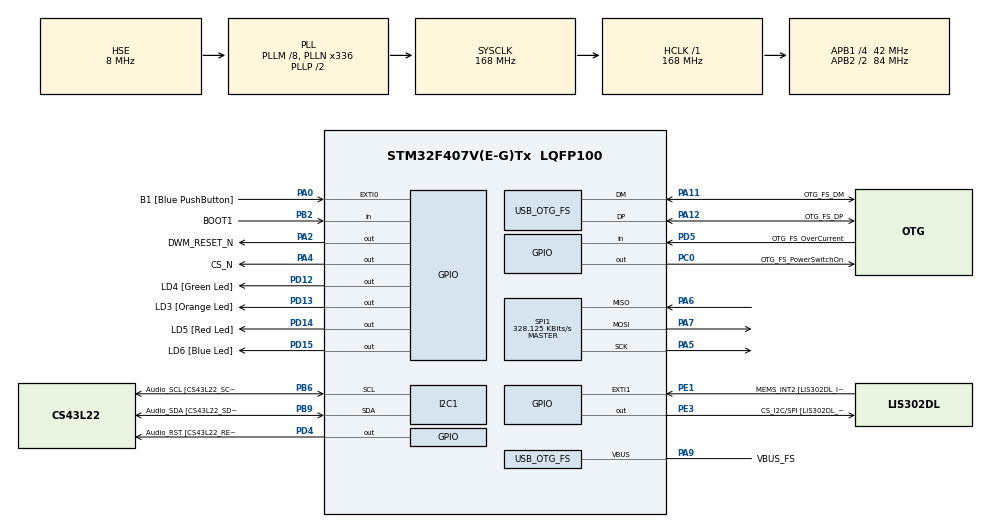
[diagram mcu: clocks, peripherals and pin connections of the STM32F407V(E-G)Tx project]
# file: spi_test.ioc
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Mcu.Family=STM32F4
Mcu.Name=STM32F407V(E-G)Tx
Mcu.Package=LQFP100
NVIC.OTG_FS_IRQn=true\:0\:0\:false\:false\:true\:true\:true\:true
NVIC.PriorityGroup=NVIC_PRIORITYGROUP_0
PA0-WKUP.GPIO_Label=B1 [Blue PushButton]
PA0-WKUP.GPIO_ModeDefaultEXTI=GPIO_MODE_EVT_RISING
PA0-WKUP.GPIO_PuPd=GPIO_NOPULL
PA0-WKUP.Signal=GPXTI0
PA10.GPIO_Label=OTG_FS_ID
PA10.GPIO_Mode=GPIO_MODE_AF_PP
PA10.GPIO_PuPd=GPIO_NOPULL
PA10.GPIO_Speed=GPIO_SPEED_FREQ_LOW
PA10.Signal=USB_OTG_FS_ID
PA11.GPIO_Label=OTG_FS_DM
PA11.GPIO_Mode=GPIO_MODE_AF_PP
PA11.GPIO_PuPd=GPIO_NOPULL
PA11.GPIO_Speed=GPIO_SPEED_FREQ_LOW
PA11.Mode=Host_Only
PA11.Signal=USB_OTG_FS_DM
PA12.GPIO_Label=OTG_FS_DP
PA12.GPIO_Mode=GPIO_MODE_AF_PP
PA12.GPIO_PuPd=GPIO_NOPULL
PA12.GPIO_Speed=GPIO_SPEED_FREQ_LOW
PA12.Mode=Host_Only
PA12.Signal=USB_OTG_FS_DP
PA13.GPIO_Label=SWDIO
PA13.Mode=Serial_Wire
PA13.Signal=SYS_JTMS-SWDIO
PA14.GPIO_Label=SWCLK
PA14.Mode=Serial_Wire
PA14.Signal=SYS_JTCK-SWCLK
PA2.GPIO_Label=DWM_RESET_N
PA2.GPIO_ModeDefaultOutputPP=GPIO_MODE_OUTPUT_OD
PA2.GPIO_PuPd=GPIO_PULLUP
PA2.Signal=GPIO_Output
PA4.GPIO_Label=CS_N
PA4.Signal=GPIO_Output
PA5.GPIO_Mode=GPIO_MODE_AF_PP
PA5.GPIO_PuPd=GPIO_NOPULL
PA5.GPIO_Speed=GPIO_SPEED_FREQ_VERY_HIGH
PA5.Mode=Full_Duplex_Master
PA5.Signal=SPI1_SCK
PA6.GPIO_Mode=GPIO_MODE_AF_PP
PA6.GPIO_PuPd=GPIO_NOPULL
PA6.GPIO_Speed=GPIO_SPEED_FREQ_VERY_HIGH
PA6.Mode=Full_Duplex_Master
PA6.Signal=SPI1_MISO
PA7.GPIO_Mode=GPIO_MODE_AF_PP
PA7.GPIO_PuPd=GPIO_NOPULL
PA7.GPIO_Speed=GPIO_SPEED_FREQ_VERY_HIGH
PA7.Mode=Full_Duplex_Master
PA7.Signal=SPI1_MOSI
PA9.GPIO_Label=VBUS_FS
PA9.GPIO_Mode=GPIO_MODE_INPUT
PA9.GPIO_PuPd=GPIO_NOPULL
PA9.Mode=Activate_VBUS
PA9.Signal=USB_OTG_FS_VBUS
PB10.GPIO_Label=CLK_IN [MP45DT02_CLK]
PB10.GPIO_Mode=GPIO_MODE_AF_PP
PB10.GPIO_PuPd=GPIO_NOPULL
PB10.GPIO_Speed=GPIO_SPEED_FREQ_LOW
PB10.Signal=I2S2_CK
PB2.GPIO_Label=BOOT1
PB2.GPIO_Mode=GPIO_MODE_INPUT
PB2.GPIO_PuPd=GPIO_NOPULL
PB2.Signal=GPIO_Input
PB3.GPIO_Label=SWO
PB3.Signal=SYS_JTDO-SWO
PB6.GPIO_Label=Audio_SCL [CS43L22_SCL]
PB6.GPIO_Mode=GPIO_MODE_AF_OD
PB6.GPIO_Pu=GPIO_PULLUP
PB6.GPIO_PuPd=GPIO_NOPULL
PB6.GPIO_Speed=GPIO_SPEED_FREQ_LOW
PB6.Mode=I2C
PB6.Signal=I2C1_SCL
PB9.GPIO_Label=Audio_SDA [CS43L22_SDA]
PB9.GPIO_Mode=GPIO_MODE_AF_OD
PB9.GPIO_Pu=GPIO_PULLUP
PB9.GPIO_PuPd=GPIO_NOPULL
PB9.GPIO_Speed=GPIO_SPEED_FREQ_LOW
PB9.Mode=I2C
PB9.Signal=I2C1_SDA
PC0.GPIO_Label=OTG_FS_PowerSwitchOn
PC0.GPIO_PuPd=GPIO_NOPULL
PC0.GPIO_Speed=GPIO_SPEED_FREQ_LOW
PC0.PinState=GPIO_PIN_SET
PC0.Signal=GPIO_Output
PC10.GPIO_Label=I2S3_SCK [CS43L22_SCLK]
PC10.GPIO_Mode=GPIO_MODE_AF_PP
PC10.GPIO_PuPd=GPIO_NOPULL
PC10.GPIO_Speed=GPIO_SPEED_FREQ_LOW
PC10.Signal=I2S3_CK
PC12.GPIO_Label=I2S3_SD [CS43L22_SDIN]
PC12.GPIO_Mode=GPIO_MODE_AF_PP
PC12.GPIO_PuPd=GPIO_NOPULL
PC12.GPIO_Speed=GPIO_SPEED_FREQ_LOW
PC12.Signal=I2S3_SD
PC14-OSC32_IN.GPIO_Label=PC14-OSC32_IN
PC14-OSC32_IN.Mode=LSE-External-Oscillator
PC14-OSC32_IN.Signal=RCC_OSC32_IN
PC15-OSC32_OUT.GPIO_Label=PC15-OSC32_OUT
PC15-OSC32_OUT.Mode=LSE-External-Oscillator
PC15-OSC32_OUT.Signal=RCC_OSC32_OUT
PC3.GPIO_Label=PDM_OUT [MP45DT02_DOUT]
PC3.GPIO_Mode=GPIO_MODE_AF_PP
PC3.GPIO_PuPd=GPIO_NOPULL
PC3.GPIO_Speed=GPIO_SPEED_FREQ_LOW
PC3.Signal=I2S2_SD
PC7.GPIO_Label=I2S3_MCK [CS43L22_MCLK]
PC7.GPIO_Mode=GPIO_MODE_AF_PP
PC7.GPIO_PuPd=GPIO_NOPULL
PC7.GPIO_Speed=GPIO_SPEED_FREQ_LOW
PC7.Signal=I2S3_MCK
PD12.GPIO_Label=LD4 [Green Led]
PD12.GPIO_PuPd=GPIO_NOPULL
PD12.GPIO_Speed=GPIO_SPEED_FREQ_LOW
PD12.Signal=GPIO_Output
PD13.GPIO_Label=LD3 [Orange Led]
PD13.GPIO_PuPd=GPIO_NOPULL
PD13.GPIO_Speed=GPIO_SPEED_FREQ_LOW
PD13.Signal=GPIO_Output
PD14.GPIO_Label=LD5 [Red Led]
PD14.GPIO_PuPd=GPIO_NOPULL
PD14.GPIO_Speed=GPIO_SPEED_FREQ_LOW
PD14.Signal=GPIO_Output
PD15.GPIO_Label=LD6 [Blue Led]
PD15.GPIO_PuPd=GPIO_NOPULL
PD15.GPIO_Speed=GPIO_SPEED_FREQ_LOW
PD15.Signal=GPIO_Output
PD4.GPIO_Label=Audio_RST [CS43L22_RESET]
PD4.GPIO_PuPd=GPIO_NOPULL
PD4.GPIO_Speed=GPIO_SPEED_FREQ_LOW
PD4.Signal=GPIO_Output
PD5.GPIO_Label=OTG_FS_OverCurrent
PD5.GPIO_Mode=GPIO_MODE_INPUT
PD5.GPIO_PuPd=GPIO_NOPULL
PD5.Signal=GPIO_Input
PE1.GPIO_Label=MEMS_INT2 [LIS302DL_INT2]
PE1.GPIO_ModeDefaultEXTI=GPIO_MODE_EVT_RISING
PE1.GPIO_PuPd=GPIO_NOPULL
PE1.Signal=GPXTI1
PE3.GPIO_Label=CS_I2C/SPI [LIS302DL_CS_I2C/SPI]
PE3.GPIO_PuPd=GPIO_NOPULL
PE3.GPIO_Speed=GPIO_SPEED_FREQ_LOW
PE3.Signal=GPIO_Output
PH0-OSC_IN.GPIO_Label=PH0-OSC_IN
PH0-OSC_IN.Mode=HSE-External-Oscillator
PH0-OSC_IN.Signal=RCC_OSC_IN
PH1-OSC_OUT.GPIO_Label=PH1-OSC_OUT
PH1-OSC_OUT.Mode=HSE-External-Oscillator
PH1-OSC_OUT.Signal=RCC_OSC_OUT
ProjectManager.HeapSize=0x200
ProjectManager.StackSize=0x400
ProjectManager.TargetToolchain=STM32CubeIDE
RCC.48MHZClocksFreq_Value=48000000
RCC.AHBFreq_Value=168000000
RCC.APB1CLKDivider=RCC_HCLK_DIV4
RCC.APB1Freq_Value=42000000
RCC.APB1TimFreq_Value=84000000
RCC.APB2CLKDivider=RCC_HCLK_DIV2
RCC.APB2Freq_Value=84000000
RCC.APB2TimFreq_Value=168000000
RCC.CortexFreq_Value=168000000
RCC.HCLKFreq_Value=168000000
RCC.HSE_VALUE=8000000
RCC.HSI_VALUE=16000000
RCC.PLLM=8
RCC.PLLN=336
RCC.PLLQ=7
RCC.SYSCLKFreq_VALUE=168000000
RCC.SYSCLKSource=RCC_SYSCLKSOURCE_PLLCLK
RCC.VCOOutputFreq_Value=336000000
SPI1.BaudRatePrescaler=SPI_BAUDRATEPRESCALER_256
SPI1.CalculateBaudRate=328.125 KBits/s
SPI1.Direction=SPI_DIRECTION_2LINES
SPI1.FirstBit=SPI_FIRSTBIT_MSB
SPI1.Mode=SPI_MODE_MASTER
SPI1.VirtualType=VM_MASTER
USB_HOST.BSP.number=1
USB_HOST.USBH_HandleTypeDef-CDC_FS=hUsbHostFS
USB_HOST.VirtualModeFS=Cdc
USB_HOST0.BSP.STBoard=false
USB_HOST0.BSP.api=Unknown
USB_HOST0.BSP.instance=PC0
USB_HOST0.BSP.ip=GPIO
USB_HOST0.BSP.mode=Output
USB_HOST0.BSP.name=Drive_VBUS_FS
USB_HOST0.BSP.solution=PC0
USB_OTG_FS.VirtualMode=Host_Only
USB_OTG_FS.phy_itface=HCD_PHY_EMBEDDED
VP_USB_HOST_VS_USB_HOST_CDC_FS.Mode=CDC_FS
board=STM32F407G-DISC1

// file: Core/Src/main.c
/* USER CODE BEGIN Header */
/**
  ******************************************************************************
  * @file           : main.c
  * @brief          : Main program body
  ******************************************************************************
  * @attention
  *
  * Copyright (c) 2026 STMicroelectronics.
  * All rights reserved.
  *
  * This software is licensed under terms that can be found in the LICENSE file
  * in the root directory of this software component.
  * If no LICENSE file comes with this software, it is provided AS-IS.
  *
  ******************************************************************************
  */
/* USER CODE END Header */
#include "main.h"
#include "usb_host.h"

/* USER CODE BEGIN Includes */
#include "DW1000.h"
/* USER CODE END Includes */

I2C_HandleTypeDef hi2c1;

SPI_HandleTypeDef hspi1;

void SystemClock_Config(void);
static void MX_GPIO_Init(void);
static void MX_I2C1_Init(void);
static void MX_SPI1_Init(void);
void MX_USB_HOST_Process(void);

/* USER CODE BEGIN 0 */

//void dwm_read_sub_reg_len(uint8_t reg_file_id,
//                      uint8_t sub_reg,
//                      uint8_t *data,
//                      uint8_t len)
//{
//    uint8_t tx[2 + len];
//    uint8_t rx[2 + len];
//
//    tx[0] = (1 << 6) | (reg_file_id & 0x3F);
//    tx[1] = sub_reg & 0x7F;
//
//    for (int i = 2; i < 2 + len; i++)
//        tx[i] = 0;
//
//    HAL_GPIO_WritePin(CS_N_GPIO_Port, CS_N_Pin, GPIO_PIN_RESET);
//    HAL_SPI_TransmitReceive(&hspi1, tx, rx, 2 + len, HAL_MAX_DELAY);
//    HAL_GPIO_WritePin(CS_N_GPIO_Port, CS_N_Pin, GPIO_PIN_SET);
//
//    memcpy(data, &rx[2], len);
//}

uint32_t dwm_read_device_id(void)
{
    uint8_t tx[5] = {0};
    uint8_t rx[5] = {0};

    // Read, no sub-address
    tx[0] = 0x00;  // Read command for ID reg

    HAL_GPIO_WritePin(CS_N_GPIO_Port, CS_N_Pin, GPIO_PIN_RESET);

    HAL_SPI_TransmitReceive(&hspi1, tx, rx, 5, HAL_MAX_DELAY);

    HAL_GPIO_WritePin(CS_N_GPIO_Port, CS_N_Pin, GPIO_PIN_SET);

    return (rx[4] << 24) | (rx[3] << 16) | (rx[2] << 8) | rx[1];

}

#define SYS_STATUS 0x0F
#define SYS_CONFIG 0x04

uint32_t dwm_read_sys_status(void)
{
    uint8_t tx[5] = {0};
    uint8_t rx[5] = {0};

    tx[0] = SYS_STATUS;

    HAL_GPIO_WritePin(CS_N_GPIO_Port, CS_N_Pin, GPIO_PIN_RESET);
    HAL_SPI_TransmitReceive(&hspi1, tx, rx, 5, HAL_MAX_DELAY);
    HAL_GPIO_WritePin(CS_N_GPIO_Port, CS_N_Pin, GPIO_PIN_SET);

    return (rx[4] << 24) | (rx[3] << 16) | (rx[2] << 8) | rx[1];
}

/*
 *
	 read 4 octet registers
	 max reg id = 0x3F, to allow two MSBs for SPI header bits
 *
 */
uint32_t dwm_read_reg_32(uint8_t reg_id){

	// SPI
	uint8_t tx[5] = {0};
	uint8_t rx[5] = {0};
	uint32_t reg_read = 0; // temp

	// Bit 7 = 0 (read)
	// Bit 6 = 0 (no sub index present)
	tx[0] = ((0 << SPI_OPERATION_OFFSET) | (0 << SPI_SUB_INDEX_PRESENT_OFFSET) | (reg_id & 0x3F));
    HAL_GPIO_WritePin(CS_N_GPIO_Port, CS_N_Pin, GPIO_PIN_RESET);
    HAL_SPI_TransmitReceive(&hspi1, tx, rx, sizeof(tx), HAL_MAX_DELAY);
    HAL_GPIO_WritePin(CS_N_GPIO_Port, CS_N_Pin, GPIO_PIN_SET);

    // first byte has to be discarded (dummy)
    reg_read  = (rx[4] << 24) | (rx[3] << 16) | (rx[2] << 8) | rx[1];

    return reg_read;

}

// Write 32-bit register
void dwm_write_reg_32(uint8_t reg_id, uint32_t value)
{
    uint8_t tx[5];

    // Write command: bit 7 = 1, bit 6 = 0 (no sub-index)
    tx[0] = (1 << 7) | (0 << 6) | (reg_id & 0x3F);

    // Data in little-endian (LSB first)
    tx[1] = (value >> 0) & 0xFF;
    tx[2] = (value >> 8) & 0xFF;
    tx[3] = (value >> 16) & 0xFF;
    tx[4] = (value >> 24) & 0xFF;

    HAL_GPIO_WritePin(CS_N_GPIO_Port, CS_N_Pin, GPIO_PIN_RESET);
    HAL_SPI_Transmit(&hspi1, tx, 5, HAL_MAX_DELAY);
    HAL_GPIO_WritePin(CS_N_GPIO_Port, CS_N_Pin, GPIO_PIN_SET);
}

// Write to sub-register (for registers like 0x23:04)
void dwm_write_sub_reg_32(uint8_t reg_file_id, uint8_t sub_reg, uint32_t value)
{
    uint8_t tx[6];

    // Write with sub-index: bit 7 = 1, bit 6 = 1
    tx[0] = (1 << 7) | (1 << 6) | (reg_file_id & 0x3F);

    // Sub-index (7-bit)
    tx[1] = sub_reg & 0x7F;

    // Data
    tx[2] = (value >> 0) & 0xFF;
    tx[3] = (value >> 8) & 0xFF;
    tx[4] = (value >> 16) & 0xFF;
    tx[5] = (value >> 24) & 0xFF;

    HAL_GPIO_WritePin(CS_N_GPIO_Port, CS_N_Pin, GPIO_PIN_RESET);
    HAL_SPI_Transmit(&hspi1, tx, 6, HAL_MAX_DELAY);
    HAL_GPIO_WritePin(CS_N_GPIO_Port, CS_N_Pin, GPIO_PIN_SET);
}

uint32_t dwm_read_sub_reg_32(uint8_t reg_file_id, uint8_t sub_reg)
{
    uint8_t tx[6] = {0};
    uint8_t rx[6] = {0};

    // Read operation with sub-index: bit 7 = 0 (read), bit 6 = 1 (sub-index present)
    tx[0] = (0 << 7) | (1 << 6) | (reg_file_id & 0x3F);
    tx[1] = sub_reg & 0x7F;
    // Note: tx[2] to tx[5] remain 0 - these are dummy bytes for reading

    HAL_GPIO_WritePin(CS_N_GPIO_Port, CS_N_Pin, GPIO_PIN_RESET);
    HAL_SPI_TransmitReceive(&hspi1, tx, rx, 6, HAL_MAX_DELAY);
    HAL_GPIO_WritePin(CS_N_GPIO_Port, CS_N_Pin, GPIO_PIN_SET);

    // Data starts at rx[2] because:
    // rx[0] = echoed header byte (the one we sent)
    // rx[1] = echoed sub-index byte (the one we sent)
    // rx[2] = LSB of the 32-bit value
    // rx[3] = byte 1
    // rx[4] = byte 2
    // rx[5] = MSB of the 32-bit value
    return (rx[5] << 24) | (rx[4] << 16) | (rx[3] << 8) | rx[2];
}

//////////////////////////////////////////////////////////////////////////////////////\\\\\\\\\\\\\\\\\\\\\\\\\\\\\\\\\\\\\\\\\\\\\\\\\\\\\\\\\\\\\\\\\\\\\

void dwm_read_reg(uint8_t reg_id, uint8_t *data, uint8_t len)
{
    uint8_t tx[1 + len];
    uint8_t rx[1 + len];

    tx[0] = reg_id & 0x3F;  // read, no sub-index
    memset(&tx[1], 0, len);

    HAL_GPIO_WritePin(CS_N_GPIO_Port, CS_N_Pin, GPIO_PIN_RESET);
    HAL_SPI_TransmitReceive(&hspi1, tx, rx, 1 + len, HAL_MAX_DELAY);
    HAL_GPIO_WritePin(CS_N_GPIO_Port, CS_N_Pin, GPIO_PIN_SET);

    memcpy(data, &rx[1], len);
}

void dwm_write_reg(uint8_t reg_id, uint8_t *data, uint8_t len)
{
    uint8_t tx[1 + len];

    tx[0] = 0x80 | (reg_id & 0x3F);  // write bit = 1
    memcpy(&tx[1], data, len);

    HAL_GPIO_WritePin(CS_N_GPIO_Port, CS_N_Pin, GPIO_PIN_RESET);
    HAL_SPI_Transmit(&hspi1, tx, 1 + len, HAL_MAX_DELAY);
    HAL_GPIO_WritePin(CS_N_GPIO_Port, CS_N_Pin, GPIO_PIN_SET);
}

void dwm_write_reg_sub(uint8_t reg_id,
                       uint16_t subaddr,
                       uint8_t *data,
                       uint16_t len)
{
    uint8_t header[3];
    uint8_t header_len = 1;

    // First header byte: write + reg ID
    header[0] = 0x80 | (reg_id & 0x3F);

    if (subaddr != 0xFFFF) {  // sentinel = no subaddr
        header[0] |= 0x40;    // subaddress flag

        header[1] = subaddr & 0x7F;
        header_len = 2;

        if (subaddr > 0x7F) {
            header[1] |= 0x80;
            header[2] = (subaddr >> 7) & 0xFF;
            header_len = 3;
        }
    }

    HAL_GPIO_WritePin(CS_N_GPIO_Port, CS_N_Pin, GPIO_PIN_RESET);

    HAL_SPI_Transmit(&hspi1, header, header_len, HAL_MAX_DELAY);
    HAL_SPI_Transmit(&hspi1, data, len, HAL_MAX_DELAY);

    HAL_GPIO_WritePin(CS_N_GPIO_Port, CS_N_Pin, GPIO_PIN_SET);
}

void dwm_read_reg_sub(uint8_t reg_id,
                      uint16_t subaddr,
                      uint8_t *data,
                      uint16_t len)
{
    uint8_t header[3];
    uint8_t header_len = 1;

    // Base read header
    header[0] = reg_id & 0x3F;

    // Add sub-address if requested
    if (subaddr != 0xFFFF) {   // sentinel: no subaddress
        header[0] |= 0x40;     // sub-address flag

        header[1] = subaddr & 0x7F;
        header_len = 2;

        if (subaddr > 0x7F) {
            header[1] |= 0x80;           // extension flag
            header[2] = subaddr >> 7;
            header_len = 3;
        }
    }

    HAL_GPIO_WritePin(CS_N_GPIO_Port, CS_N_Pin, GPIO_PIN_RESET);

    // Send header
    HAL_SPI_Transmit(&hspi1, header, header_len, HAL_MAX_DELAY);

    // Receive data
    HAL_SPI_Receive(&hspi1, data, len, HAL_MAX_DELAY);

    HAL_GPIO_WritePin(CS_N_GPIO_Port, CS_N_Pin, GPIO_PIN_SET);
}

uint32_t dwm_read_sys_config(void)
{
    uint8_t tx[5] = {0};
    uint8_t rx[5] = {0};

    tx[0] = SYS_CONFIG;

    HAL_GPIO_WritePin(CS_N_GPIO_Port, CS_N_Pin, GPIO_PIN_RESET);
    HAL_SPI_TransmitReceive(&hspi1, tx, rx, 5, HAL_MAX_DELAY);
    HAL_GPIO_WritePin(CS_N_GPIO_Port, CS_N_Pin, GPIO_PIN_SET);

    return (rx[4] << 24) | (rx[3] << 16) | (rx[2] << 8) | rx[1];
}

void dwm_reset(void)
{

    HAL_GPIO_WritePin(DWM_RESET_N_GPIO_Port,
                      DWM_RESET_N_Pin,
                      GPIO_PIN_RESET);

    HAL_Delay(1);   // 1ms is more than enough

    // Release reset (Hi-Z because open-drain)
    HAL_GPIO_WritePin(DWM_RESET_N_GPIO_Port,
                      DWM_RESET_N_Pin,
                      GPIO_PIN_SET);

    HAL_Delay(10);   // allow DW1000 time to boot
}

uint32_t dwm_read_sys_state(void)
{
    uint8_t tx[2] = {0};
    uint8_t rx[4] = {0};

    tx[0] = 0x19;  // SYS_STATE register ID
    tx[1] = 0x00;  // sub-address

    HAL_GPIO_WritePin(CS_N_GPIO_Port, CS_N_Pin, GPIO_PIN_RESET);
    HAL_SPI_Transmit(&hspi1, tx, 2, HAL_MAX_DELAY);
    HAL_SPI_Receive(&hspi1, rx, 4, HAL_MAX_DELAY);
    HAL_GPIO_WritePin(CS_N_GPIO_Port, CS_N_Pin, GPIO_PIN_SET);

    return (rx[3] << 24) | (rx[2] << 16) | (rx[1] << 8) | rx[0];
}

void dwm_tx_test(void)
{
    uint8_t frame[] = {0x41, 0x88, 0x00, 0xCA, 0xDE, 0xBE, 0xEF};

    // 1. Write frame to TX buffer (reg 0x09)
    uint8_t tx_buf[1 + sizeof(frame)];
    tx_buf[0] = 0x09 | (1 << 7);  // write to TX_BUFFER
    memcpy(&tx_buf[1], frame, sizeof(frame));

    HAL_GPIO_WritePin(CS_N_GPIO_Port, CS_N_Pin, GPIO_PIN_RESET);
    HAL_SPI_Transmit(&hspi1, tx_buf, sizeof(tx_buf), HAL_MAX_DELAY);
    HAL_GPIO_WritePin(CS_N_GPIO_Port, CS_N_Pin, GPIO_PIN_SET);

    // 2. Set frame length (TX_FCTRL = 0x08)
    dwm_write_reg_32(0x08, sizeof(frame));

    // 3. Start transmission (SYS_CTRL = 0x0D)
    dwm_write_reg_32(0x0D, 0x00000002);  // TXSTRT
}

/*
 * SPI lets u read more than the reg if octets do not match
 */

void modify_default_config(void){

	//1. AGC Tune1 - 2 octets
	uint8_t current_agc1_config[2] = {0};
	dwm_read_reg_sub(0x23,0x04,current_agc1_config,2);

	current_agc1_config[0] = 0x70;
	current_agc1_config[1] = 0x88;

	dwm_write_reg_sub(0x23,0x04,current_agc1_config,2);
	dwm_read_reg_sub(0x23,0x04,current_agc1_config,2);

	//2.AGC Tune2 (4 oct)
	uint8_t new_agc2_config[4] = {0x07,0xa9,0x02,0x25};
	dwm_write_reg_sub(0x23,0x0c,new_agc2_config,4);

	//	//3. DRX_Tune_2 (4 oct)
	uint8_t new_drx2_config[4] = {0x2d,0x00,0x1a,0x31};
	dwm_write_reg_sub(0x27,0x08,new_drx2_config,4);

	//4. NTM
	uint8_t lde_cfg_1[1] = {0};
	dwm_read_reg_sub(0x2E,0x0806,lde_cfg_1,1);
	lde_cfg_1[0] = (lde_cfg_1[0] & ~0x1F) | (0x0D & 0x1F);
	dwm_write_reg_sub(0x2E,0x0806,lde_cfg_1,1);

//	5.LDE Config 2
	uint8_t lde_cfg_2[2] = {0x07,0x16};
	dwm_write_reg_sub(0x2E,0x1806,lde_cfg_2,2);

//	//6. Tx Power
	uint8_t tx_power_ctrl[4] ={0x48,0x28,0x08,0x0e};
	dwm_write_reg_sub(0x1E,0x00,tx_power_ctrl,4);

//	7. RF_TXCTRL (3 oct)
//	 DATASHEET_UNCLEAR (refer pg 153)
//	 The data sheet says set 24 bits,  last oct is reserved and set to 0x00 but when reading it has 0xde, might have to set to 0x00 of issues
	uint8_t rf_txctrl[3] = {0xe3,0x3f,0x1e};
	dwm_write_reg_sub(0x28,0x0c,rf_txctrl,3);

//	8.TC_PGDELAY (1 oct)
	uint8_t tc_pgdelay[1] = {0xc0};
	dwm_write_reg_sub(0x2A,0x0b,tc_pgdelay,1);

//	9.PLL_TUNE (1 oct)
	uint8_t fs_pll_tune[1] = {0xbe};
	dwm_write_reg_sub(0x2b,0x0b,fs_pll_tune,1);

//	10. LDE_LOAD
	//NOTE: refer page 176 for ldeload instruction if waking up from sleep/deep sleep

	//L1 - write to PMSC Control0 lower 16 bits
	uint8_t pmsc_ctrl_0_lower_2_oct[2] = {0x01,0x03};
	dwm_write_reg_sub(0x36, 0x00, pmsc_ctrl_0_lower_2_oct, 2);

	//L2 - set OTP control LDELOAD bit (write entire reg)
	uint8_t otp_control[2] = {0x00,0x80};
	dwm_write_reg_sub(0x2d, 0x06, otp_control, 2);

	//Wait 150us
	HAL_Delay(1);

	// L-3
	uint8_t pmsc_ctrl_0_lower_2_oct_L3[2] = {0x00,0x02};
	dwm_write_reg_sub(0x36, 0x00, pmsc_ctrl_0_lower_2_oct_L3, 2);

// 10.LDO TUNE
	//NOTE: can be skipped ig
}

void transmit(){
	/*
	 * 1. Write data in TX_BUFFER
	 * 2. Set frame len + other details in TX_FCTRL
	 * 3. Initialte using TXSTRT bit in SysCtrlReg (0x0D)
	 *
	 * NOTE: Cannot read from TxBuffer
	 * WARNING: reafing TX_FCTRL also reads TX_BUFFER, so dont read it during actove tx
	 *
	 * TX_FCTRL
	 * 		-TFLEN: frame len, payload length + 2 CRC bytes
	 * 		-TFLE: extended mode - not needed
	 * 		-TXBR: bit rate, default = 6.8Mbps
	 * 		-TR: Transmit bit rate ( ig its not needed) its set to 1 by def DATASHEET_UNCLEAR
	 * 		-TXPRF: Pulse repetion freq (default of 16Mhz is ok, must be grater than 4Mhz)
	 * 		-TXPSR: preamble length
	 * 		-NOTE - Modify premable length (TXPSR = 0b10, PE = 0b00) for preamble length of 1024
	 * 		-NOTE - Receiver must match this
	 *
	 */

	// WRITE DATA TO TX BUFFER
	uint8_t tx_data[4] ={0xAA,0xBB,0xCC,0xDD};
	dwm_write_reg(0x09, tx_data, 4);

	//SET FRAME LENGTH AND PREAMBLE LENGTH
	uint8_t tx_frame_control[5] = {0};
	dwm_read_reg(0x08, tx_frame_control, 5);
	// fr_len = 4 + 2 =
	// Set frame length
	tx_frame_control[0] &= 0x80;
	tx_frame_control[0] |= 6;
	// Set TXPSR=10, PE=00
	tx_frame_control[2] &= ~(0x3C);
	tx_frame_control[2] |= (0b10 << 2);
	dwm_write_reg(0x08, tx_frame_control, 5);

	//TRASMIT
	uint8_t sys_ctrl[4] = {0};
	dwm_read_reg(0x0D, sys_ctrl, 4);
	sys_ctrl[0] |= (1 << 1);
	dwm_write_reg(0x0D, sys_ctrl, 4);

}

/* USER CODE END 0 */

int main(void)
{

  /* MCU Configuration--------------------------------------------------------*/

  /* Reset of all peripherals, Initializes the Flash interface and the Systick. */
  HAL_Init();

  /* Configure the system clock */
  SystemClock_Config();

  /* USER CODE BEGIN SysInit */

//  HAL_Delay(1000); // to allow pll to lock

  /* USER CODE END SysInit */

  /* Initialize all configured peripherals */
  MX_GPIO_Init();
  MX_I2C1_Init();
  MX_SPI1_Init();
  MX_USB_HOST_Init();
  /* USER CODE BEGIN 2 */

  HAL_Delay(10);
  dwm_reset();
  uint32_t id = dwm_read_reg_32(DEV_ID);

  int count = 0;
//  int run_count = 0;
  int clk_pll_error_count = 0;
  int txfrs_error_count = 0;
//  uint32_t sys_status = dwm_read_reg_32(SYS_STATUS);
//  uint32_t sys_config = 0;
  uint8_t sys_status_reg_arr[5];

  modify_default_config();

  //set PLLLDT  bit high
  uint8_t ec_ctrl_reg[4] = {0};
  dwm_read_reg_sub(0x24,0x00,ec_ctrl_reg,4);
  ec_ctrl_reg[0] = ec_ctrl_reg[0]|0x04;
  dwm_write_reg_sub(0x24,0x00,ec_ctrl_reg,4);

  /* USER CODE END 2 */
  /* Infinite loop */
  while (1)
  {
    MX_USB_HOST_Process();

    /* USER CODE BEGIN 3 */

    uint32_t sys_status = dwm_read_reg_32(SYS_STATUS);

//    if(sys_status & 0x2000000){
//			clk_pll_error_count++;
//    }
    count++;

    uint32_t sys_status_idle = dwm_read_sys_state();

//    dwm_tx_test();
    transmit();
    HAL_Delay(1);

    dwm_read_reg(0x0F, sys_status_reg_arr, 5);
    sys_status = dwm_read_reg_32(SYS_STATUS);

    if(!(sys_status_reg_arr[0]&0x80)){
    	txfrs_error_count++;
    }

  }
  /* USER CODE END 3 */
}

void SystemClock_Config(void)
{
  RCC_OscInitTypeDef RCC_OscInitStruct = {0};
  RCC_ClkInitTypeDef RCC_ClkInitStruct = {0};

  /** Configure the main internal regulator output voltage
  */
  __HAL_RCC_PWR_CLK_ENABLE();
  __HAL_PWR_VOLTAGESCALING_CONFIG(PWR_REGULATOR_VOLTAGE_SCALE1);

  /** Initializes the RCC Oscillators according to the specified parameters
  * in the RCC_OscInitTypeDef structure.
  */
  RCC_OscInitStruct.OscillatorType = RCC_OSCILLATORTYPE_HSE;
  RCC_OscInitStruct.HSEState = RCC_HSE_ON;
  RCC_OscInitStruct.PLL.PLLState = RCC_PLL_ON;
  RCC_OscInitStruct.PLL.PLLSource = RCC_PLLSOURCE_HSE;
  RCC_OscInitStruct.PLL.PLLM = 8;
  RCC_OscInitStruct.PLL.PLLN = 336;
  RCC_OscInitStruct.PLL.PLLP = RCC_PLLP_DIV2;
  RCC_OscInitStruct.PLL.PLLQ = 7;
  if (HAL_RCC_OscConfig(&RCC_OscInitStruct) != HAL_OK)
  {
    Error_Handler();
  }

  /** Initializes the CPU, AHB and APB buses clocks
  */
  RCC_ClkInitStruct.ClockType = RCC_CLOCKTYPE_HCLK|RCC_CLOCKTYPE_SYSCLK
                              |RCC_CLOCKTYPE_PCLK1|RCC_CLOCKTYPE_PCLK2;
  RCC_ClkInitStruct.SYSCLKSource = RCC_SYSCLKSOURCE_PLLCLK;
  RCC_ClkInitStruct.AHBCLKDivider = RCC_SYSCLK_DIV1;
  RCC_ClkInitStruct.APB1CLKDivider = RCC_HCLK_DIV4;
  RCC_ClkInitStruct.APB2CLKDivider = RCC_HCLK_DIV2;

  if (HAL_RCC_ClockConfig(&RCC_ClkInitStruct, FLASH_LATENCY_5) != HAL_OK)
  {
    Error_Handler();
  }
}

static void MX_I2C1_Init(void)
{

  hi2c1.Instance = I2C1;
  hi2c1.Init.ClockSpeed = 100000;
  hi2c1.Init.DutyCycle = I2C_DUTYCYCLE_2;
  hi2c1.Init.OwnAddress1 = 0;
  hi2c1.Init.AddressingMode = I2C_ADDRESSINGMODE_7BIT;
  hi2c1.Init.DualAddressMode = I2C_DUALADDRESS_DISABLE;
  hi2c1.Init.OwnAddress2 = 0;
  hi2c1.Init.GeneralCallMode = I2C_GENERALCALL_DISABLE;
  hi2c1.Init.NoStretchMode = I2C_NOSTRETCH_DISABLE;
  if (HAL_I2C_Init(&hi2c1) != HAL_OK)
  {
    Error_Handler();
  }

}

static void MX_SPI1_Init(void)
{

  /* SPI1 parameter configuration*/
  hspi1.Instance = SPI1;
  hspi1.Init.Mode = SPI_MODE_MASTER;
  hspi1.Init.Direction = SPI_DIRECTION_2LINES;
  hspi1.Init.DataSize = SPI_DATASIZE_8BIT;
  hspi1.Init.CLKPolarity = SPI_POLARITY_LOW;
  hspi1.Init.CLKPhase = SPI_PHASE_1EDGE;
  hspi1.Init.NSS = SPI_NSS_SOFT;
  hspi1.Init.BaudRatePrescaler = SPI_BAUDRATEPRESCALER_256;
  hspi1.Init.FirstBit = SPI_FIRSTBIT_MSB;
  hspi1.Init.TIMode = SPI_TIMODE_DISABLE;
  hspi1.Init.CRCCalculation = SPI_CRCCALCULATION_DISABLE;
  hspi1.Init.CRCPolynomial = 10;
  if (HAL_SPI_Init(&hspi1) != HAL_OK)
  {
    Error_Handler();
  }

}

static void MX_GPIO_Init(void)
{
  GPIO_InitTypeDef GPIO_InitStruct = {0};

  /* GPIO Ports Clock Enable */
  __HAL_RCC_GPIOE_CLK_ENABLE();
  __HAL_RCC_GPIOC_CLK_ENABLE();
  __HAL_RCC_GPIOH_CLK_ENABLE();
  __HAL_RCC_GPIOA_CLK_ENABLE();
  __HAL_RCC_GPIOB_CLK_ENABLE();
  __HAL_RCC_GPIOD_CLK_ENABLE();

  /*Configure GPIO pin Output Level */
  HAL_GPIO_WritePin(CS_I2C_SPI_GPIO_Port, CS_I2C_SPI_Pin, GPIO_PIN_RESET);

  /*Configure GPIO pin Output Level */
  HAL_GPIO_WritePin(OTG_FS_PowerSwitchOn_GPIO_Port, OTG_FS_PowerSwitchOn_Pin, GPIO_PIN_SET);

  /*Configure GPIO pin Output Level */
  HAL_GPIO_WritePin(GPIOA, DWM_RESET_N_Pin|CS_N_Pin, GPIO_PIN_RESET);

  /*Configure GPIO pin Output Level */
  HAL_GPIO_WritePin(GPIOD, LD4_Pin|LD3_Pin|LD5_Pin|LD6_Pin
                          |Audio_RST_Pin, GPIO_PIN_RESET);

  /*Configure GPIO pin : CS_I2C_SPI_Pin */
  GPIO_InitStruct.Pin = CS_I2C_SPI_Pin;
  GPIO_InitStruct.Mode = GPIO_MODE_OUTPUT_PP;
  GPIO_InitStruct.Pull = GPIO_NOPULL;
  GPIO_InitStruct.Speed = GPIO_SPEED_FREQ_LOW;
  HAL_GPIO_Init(CS_I2C_SPI_GPIO_Port, &GPIO_InitStruct);

  /*Configure GPIO pin : OTG_FS_PowerSwitchOn_Pin */
  GPIO_InitStruct.Pin = OTG_FS_PowerSwitchOn_Pin;
  GPIO_InitStruct.Mode = GPIO_MODE_OUTPUT_PP;
  GPIO_InitStruct.Pull = GPIO_NOPULL;
  GPIO_InitStruct.Speed = GPIO_SPEED_FREQ_LOW;
  HAL_GPIO_Init(OTG_FS_PowerSwitchOn_GPIO_Port, &GPIO_InitStruct);

  /*Configure GPIO pin : PDM_OUT_Pin */
  GPIO_InitStruct.Pin = PDM_OUT_Pin;
  GPIO_InitStruct.Mode = GPIO_MODE_AF_PP;
  GPIO_InitStruct.Pull = GPIO_NOPULL;
  GPIO_InitStruct.Speed = GPIO_SPEED_FREQ_LOW;
  GPIO_InitStruct.Alternate = GPIO_AF5_SPI2;
  HAL_GPIO_Init(PDM_OUT_GPIO_Port, &GPIO_InitStruct);

  /*Configure GPIO pin : B1_Pin */
  GPIO_InitStruct.Pin = B1_Pin;
  GPIO_InitStruct.Mode = GPIO_MODE_EVT_RISING;
  GPIO_InitStruct.Pull = GPIO_NOPULL;
  HAL_GPIO_Init(B1_GPIO_Port, &GPIO_InitStruct);

  /*Configure GPIO pin : DWM_RESET_N_Pin */
  GPIO_InitStruct.Pin = DWM_RESET_N_Pin;
  GPIO_InitStruct.Mode = GPIO_MODE_OUTPUT_OD;
  GPIO_InitStruct.Pull = GPIO_PULLUP;
  GPIO_InitStruct.Speed = GPIO_SPEED_FREQ_LOW;
  HAL_GPIO_Init(DWM_RESET_N_GPIO_Port, &GPIO_InitStruct);

  /*Configure GPIO pin : CS_N_Pin */
  GPIO_InitStruct.Pin = CS_N_Pin;
  GPIO_InitStruct.Mode = GPIO_MODE_OUTPUT_PP;
  GPIO_InitStruct.Pull = GPIO_NOPULL;
  GPIO_InitStruct.Speed = GPIO_SPEED_FREQ_LOW;
  HAL_GPIO_Init(CS_N_GPIO_Port, &GPIO_InitStruct);

  /*Configure GPIO pin : BOOT1_Pin */
  GPIO_InitStruct.Pin = BOOT1_Pin;
  GPIO_InitStruct.Mode = GPIO_MODE_INPUT;
  GPIO_InitStruct.Pull = GPIO_NOPULL;
  HAL_GPIO_Init(BOOT1_GPIO_Port, &GPIO_InitStruct);

  /*Configure GPIO pin : CLK_IN_Pin */
  GPIO_InitStruct.Pin = CLK_IN_Pin;
  GPIO_InitStruct.Mode = GPIO_MODE_AF_PP;
  GPIO_InitStruct.Pull = GPIO_NOPULL;
  GPIO_InitStruct.Speed = GPIO_SPEED_FREQ_LOW;
  GPIO_InitStruct.Alternate = GPIO_AF5_SPI2;
  HAL_GPIO_Init(CLK_IN_GPIO_Port, &GPIO_InitStruct);

  /*Configure GPIO pins : LD4_Pin LD3_Pin LD5_Pin LD6_Pin
                           Audio_RST_Pin */
  GPIO_InitStruct.Pin = LD4_Pin|LD3_Pin|LD5_Pin|LD6_Pin
                          |Audio_RST_Pin;
  GPIO_InitStruct.Mode = GPIO_MODE_OUTPUT_PP;
  GPIO_InitStruct.Pull = GPIO_NOPULL;
  GPIO_InitStruct.Speed = GPIO_SPEED_FREQ_LOW;
  HAL_GPIO_Init(GPIOD, &GPIO_InitStruct);

  /*Configure GPIO pins : I2S3_MCK_Pin I2S3_SCK_Pin I2S3_SD_Pin */
  GPIO_InitStruct.Pin = I2S3_MCK_Pin|I2S3_SCK_Pin|I2S3_SD_Pin;
  GPIO_InitStruct.Mode = GPIO_MODE_AF_PP;
  GPIO_InitStruct.Pull = GPIO_NOPULL;
  GPIO_InitStruct.Speed = GPIO_SPEED_FREQ_LOW;
  GPIO_InitStruct.Alternate = GPIO_AF6_SPI3;
  HAL_GPIO_Init(GPIOC, &GPIO_InitStruct);

  /*Configure GPIO pin : OTG_FS_OverCurrent_Pin */
  GPIO_InitStruct.Pin = OTG_FS_OverCurrent_Pin;
  GPIO_InitStruct.Mode = GPIO_MODE_INPUT;
  GPIO_InitStruct.Pull = GPIO_NOPULL;
  HAL_GPIO_Init(OTG_FS_OverCurrent_GPIO_Port, &GPIO_InitStruct);

  /*Configure GPIO pin : MEMS_INT2_Pin */
  GPIO_InitStruct.Pin = MEMS_INT2_Pin;
  GPIO_InitStruct.Mode = GPIO_MODE_EVT_RISING;
  GPIO_InitStruct.Pull = GPIO_NOPULL;
  HAL_GPIO_Init(MEMS_INT2_GPIO_Port, &GPIO_InitStruct);

}

void Error_Handler(void)
{
  __disable_irq();
  while (1)
  {
  }
}
